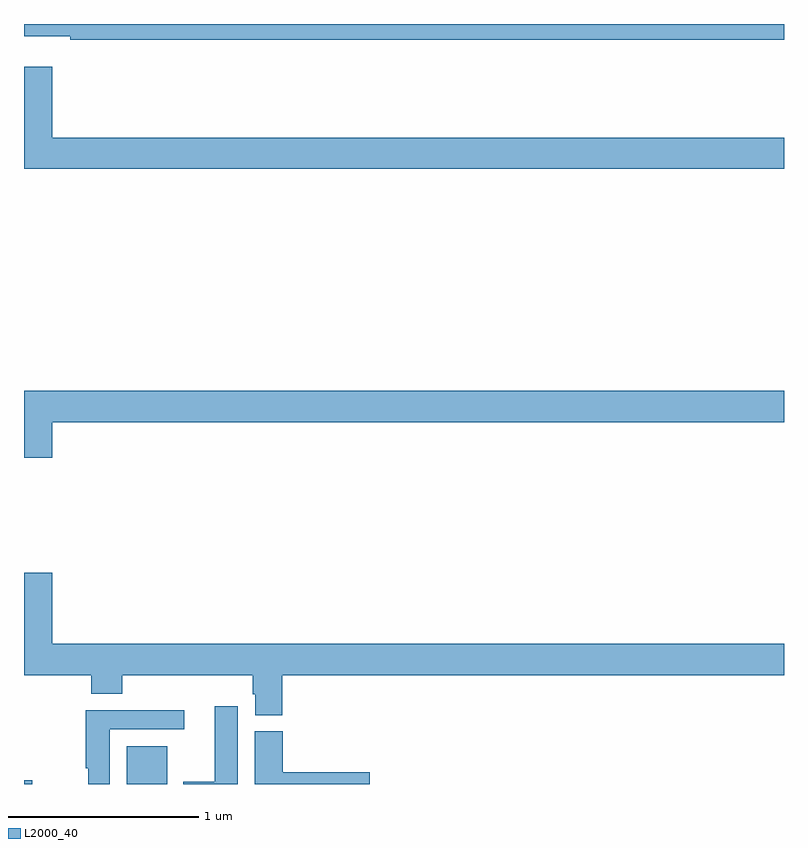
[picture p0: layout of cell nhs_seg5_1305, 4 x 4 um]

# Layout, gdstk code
import gdstk
lib = gdstk.Library(unit=1e-6, precision=1e-09)
def R(c, l, rs):  # rectangles x0, y0, x1, y1
    for r in rs: c.add(gdstk.rectangle(r[:2], r[2:], *l))
def P(c, l, *ps):  # polygons
    for p in ps: c.add(gdstk.Polygon(p, *l))
L2000_40 = (2000, 40)

nhs_seg5_1305 = lib.new_cell('nhs_seg5_1305')
R(nhs_seg5_1305, L2000_40, [(189,910.799,189.043,910.82), (189.542,910.799,189.754,910.999)])
P(nhs_seg5_1305, L2000_40, [(193,914.799),(189,914.799),(189,914.735),(189.244,914.735),(189.244,914.716),(193,914.716)],
  [(193,914.2),(189.148,914.2),(189.148,914.575),(189,914.575),(189,914.036),(193,914.036)],
  [(189.148,912.704),(193,912.704),(193,912.868),(189,912.868),(189,912.516),(189.148,912.516)],
  [(190.358,911.372),(193,911.372),(193,911.536),(189.148,911.536),(189.148,911.911),(189,911.911),(189,911.372),(189.353,911.372),(189.353,911.273),(189.518,911.273),(189.518,911.372),(190.205,911.372),(190.205,911.271),(190.217,911.271),(190.217,911.161),(190.358,911.161)],
  [(190.126,911.209),(190.004,911.209),(190.004,910.81),(189.839,910.81),(189.839,910.799),(190.126,910.799)],
  [(189.451,911.088),(189.844,911.088),(189.844,911.186),(189.326,911.186),(189.326,910.881),(189.338,910.881),(189.338,910.799),(189.451,910.799)],
  [(190.819,910.862),(190.361,910.862),(190.361,911.076),(190.214,911.076),(190.214,910.799),(190.819,910.799)])

lib.write_gds('nhs_seg5_1305.gds')
